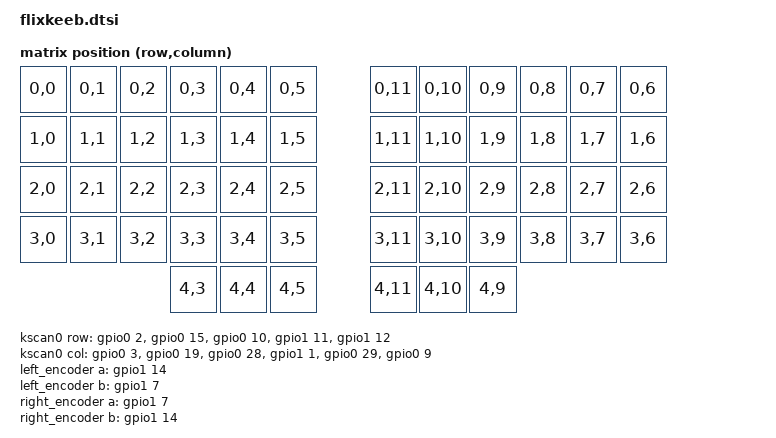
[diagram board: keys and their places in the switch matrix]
#include <dt-bindings/zmk/matrix_transform.h> // Put this with the other includes at the top of your dtsi
#include <dt-bindings/led/led.h>

&pinctrl {
    spi3_default: spi3_default {
        group1 {
            psels = <NRF_PSEL(SPIM_MOSI, 1, 3)>;
        };
    };

    spi3_sleep: spi3_sleep {
        group1 {
            psels = <NRF_PSEL(SPIM_MOSI, 1, 3)>;
            low-power-enable;
        };
    };
};

&spi3 {
    compatible = "nordic,nrf-spim";
    status = "okay";
    pinctrl-0 = <&spi3_default>;
    pinctrl-1 = <&spi3_sleep>;
    pinctrl-names = "default", "sleep";

    led_strip: ws2812@0 {
        compatible = "worldsemi,ws2812-spi";
        reg = <0>;
        spi-max-frequency = <4000000>;
        chain-length = <27>;                       // 27 LEDs pro Hälfte
        spi-one-frame = <0x70>;
        spi-zero-frame = <0x40>;
        color-mapping = <LED_COLOR_ID_GREEN LED_COLOR_ID_RED LED_COLOR_ID_BLUE>;
    };
};

/ {
    chosen {
        zmk,kscan = &kscan0;
        zmk,matrix-transform = &default_transform;
        zmk,underglow = &led_strip;
    };

    kscan0: kscan0 {
        compatible = "zmk,kscan-gpio-matrix";
        diode-direction = "col2row";
        wakeup-source;

        row-gpios
            = <&gpio0 2 (GPIO_ACTIVE_HIGH | GPIO_PULL_DOWN)>
            , <&gpio0 15 (GPIO_ACTIVE_HIGH | GPIO_PULL_DOWN)>
            , <&gpio0 10 (GPIO_ACTIVE_HIGH | GPIO_PULL_DOWN)>
            , <&gpio1 11 (GPIO_ACTIVE_HIGH | GPIO_PULL_DOWN)>
            , <&gpio1 12 (GPIO_ACTIVE_HIGH | GPIO_PULL_DOWN)>
            ;
        
        col-gpios
            = <&gpio0 3 GPIO_ACTIVE_HIGH>
            , <&gpio0 19 GPIO_ACTIVE_HIGH>
            , <&gpio0 28 GPIO_ACTIVE_HIGH>
            , <&gpio1 1 GPIO_ACTIVE_HIGH>
            , <&gpio0 29 GPIO_ACTIVE_HIGH>
            , <&gpio0 9 GPIO_ACTIVE_HIGH>
            ;

    };

    ext-power {
        compatible = "zmk,ext-power-generic";
        control-gpios = <&gpio1 5 GPIO_ACTIVE_LOW>;
        init-delay-ms = <10>;
    };

    default_transform: keymap_transform0 {
        compatible = "zmk,matrix-transform";
        columns = <12>;
        rows = <5>;
        map = <
        //  LINKS: außen -> innen (col 0..5)                          RECHTS: innen -> außen (col 5..0, global 11..6)
        //  Zeile 0 (Positionen 0-11)
            RC(0,0)  RC(0,1)  RC(0,2)  RC(0,3)  RC(0,4)  RC(0,5)     RC(0,11)  RC(0,10)  RC(0,9)  RC(0,8)  RC(0,7)  RC(0,6)

        //  Zeile 1 (Positionen 12-23)
            RC(1,0)  RC(1,1)  RC(1,2)  RC(1,3)  RC(1,4)  RC(1,5)     RC(1,11)  RC(1,10)  RC(1,9)  RC(1,8)  RC(1,7)  RC(1,6)

        //  Zeile 2 (Positionen 24-35)
            RC(2,0)  RC(2,1)  RC(2,2)  RC(2,3)  RC(2,4)  RC(2,5)     RC(2,11)  RC(2,10)  RC(2,9)  RC(2,8)  RC(2,7)  RC(2,6)

        //  Zeile 3 (Positionen 36-47)
            RC(3,0)  RC(3,1)  RC(3,2)  RC(3,3)  RC(3,4)  RC(3,5)     RC(3,11)  RC(3,10)  RC(3,9)  RC(3,8)  RC(3,7)  RC(3,6)

        //  Zeile 4 (Positionen 48-53): nur Daumencluster, jeweils die 3 inneren Spalten
                            RC(4,3)  RC(4,4)  RC(4,5)             RC(4,11)  RC(4,10)  RC(4,9)
        >;
    };

    left_encoder: encoder_left {
        compatible = "alps,ec11";
        a-gpios = <&gpio1 14 (GPIO_ACTIVE_HIGH | GPIO_PULL_UP)>;
        b-gpios = <&gpio1 7 (GPIO_ACTIVE_HIGH | GPIO_PULL_UP)>;
        steps = <20>;
        status = "disabled";
    };

    right_encoder: encoder_right {
        compatible = "alps,ec11";
        a-gpios = <&gpio1 7 (GPIO_ACTIVE_HIGH | GPIO_PULL_UP)>;
        b-gpios = <&gpio1 14 (GPIO_ACTIVE_HIGH | GPIO_PULL_UP)>;
        steps = <20>;
        status = "disabled";
    };

    sensors {
        compatible = "zmk,keymap-sensors";
        sensors = <&left_encoder &right_encoder>;
        triggers-per-rotation = <20>;
    };
};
